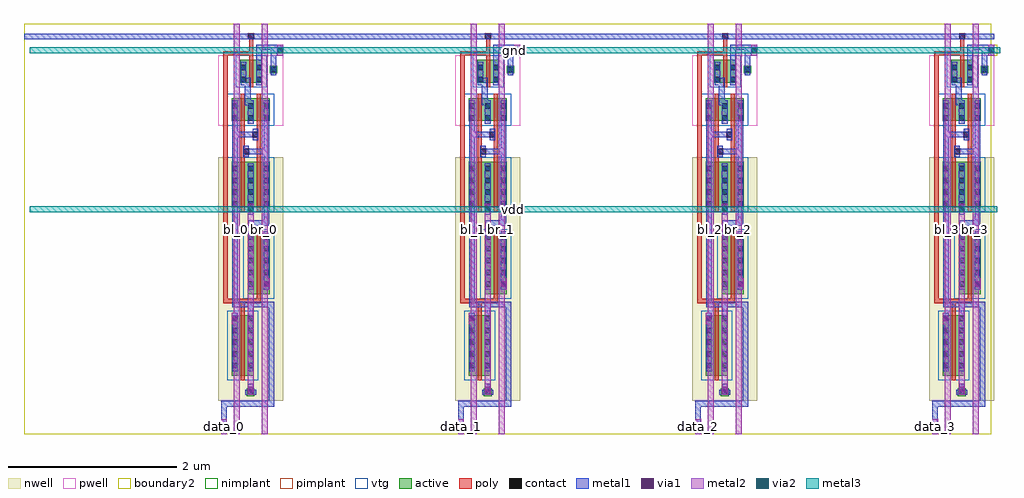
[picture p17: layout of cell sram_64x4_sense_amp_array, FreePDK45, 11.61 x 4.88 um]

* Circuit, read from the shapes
.subckt sram_64x4_sense_amp_array bl_0 bl_1 bl_2 bl_3 br_0 br_1 br_2 br_3 data_0 data_1 data_2 data_3 en gnd vdd
M1 n1 n2 data_0 gnd nfet w=0.27u l=0.05u
M2 gnd en n1 gnd nfet w=0.27u l=0.05u
M3 n2 data_0 n1 gnd nfet w=0.27u l=0.05u
M4 n3 n4 data_1 gnd nfet w=0.27u l=0.05u
M5 gnd en n3 gnd nfet w=0.27u l=0.05u
M6 n4 data_1 n3 gnd nfet w=0.27u l=0.05u
M7 n5 n6 data_2 gnd nfet w=0.27u l=0.05u
M8 gnd en n5 gnd nfet w=0.27u l=0.05u
M9 n6 data_2 n5 gnd nfet w=0.27u l=0.05u
M10 n7 n8 data_3 gnd nfet w=0.27u l=0.05u
M11 gnd en n7 gnd nfet w=0.27u l=0.05u
M12 n8 data_3 n7 gnd nfet w=0.27u l=0.05u
M13 data_0 en bl_0 vdd pfet w=0.72u l=0.05u
M14 vdd n2 data_0 vdd pfet w=0.54u l=0.05u
M15 br_0 en n2 vdd pfet w=0.72u l=0.05u
M16 n2 data_0 vdd vdd pfet w=0.54u l=0.05u
M17 data_1 en bl_1 vdd pfet w=0.72u l=0.05u
M18 vdd n4 data_1 vdd pfet w=0.54u l=0.05u
M19 br_1 en n4 vdd pfet w=0.72u l=0.05u
M20 n4 data_1 vdd vdd pfet w=0.54u l=0.05u
M21 data_2 en bl_2 vdd pfet w=0.72u l=0.05u
M22 vdd n6 data_2 vdd pfet w=0.54u l=0.05u
M23 br_2 en n6 vdd pfet w=0.72u l=0.05u
M24 n6 data_2 vdd vdd pfet w=0.54u l=0.05u
M25 data_3 en bl_3 vdd pfet w=0.72u l=0.05u
M26 vdd n8 data_3 vdd pfet w=0.54u l=0.05u
M27 br_3 en n8 vdd pfet w=0.72u l=0.05u
M28 n8 data_3 vdd vdd pfet w=0.54u l=0.05u
.ends

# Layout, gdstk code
import gdstk
lib = gdstk.Library(unit=1e-6, precision=5e-10)
def R(c, l, rs):  # rectangles x0, y0, x1, y1
    for r in rs: c.add(gdstk.rectangle(r[:2], r[2:], *l))
def A(c, l, x, y, w, h, nx, ny, dx, dy):  # array of equal rectangles
    R(c, l, [(x+i*dx, y+j*dy, x+i*dx+w, y+j*dy+h) for i in range(nx) for j in range(ny)])
active = (1, 0)
pwell = (2, 0)
nwell = (3, 0)
nimplant = (4, 0)
pimplant = (5, 0)
vtg = (6, 0)
poly = (9, 0)
contact = (10, 0)
metal1 = (11, 0)
via1 = (12, 0)
metal2 = (13, 0)
via2 = (14, 0)
metal3 = (15, 0)
boundary2 = (239, 0)

sense_amp = lib.new_cell('sense_amp')
R(sense_amp, active, [(0.3075,0.455,0.3975,0.545), (0.1275,0.695,0.3875,1.415), (0.1275,0.695,0.2025,1.415), (0.1275,0.695,0.2025,1.415), (0.3125,0.695,0.3875,1.415), (0.3125,0.695,0.3875,1.415), (0.1275,0.78,0.2025,1.415), (0.3125,0.78,0.3875,1.415), (0.3175,1.665,0.5775,2.385), (0.3175,1.665,0.3925,2.385), (0.3175,1.665,0.3925,2.385), (0.5025,1.665,0.5775,2.385), (0.5025,1.665,0.5775,2.385), (0.3175,1.75,0.3925,2.385), (0.5025,1.75,0.5775,2.385), (0.1275,2.7025,0.2025,3.1975), (0.1275,2.7025,0.3875,3.2425), (0.1275,2.7025,0.2025,3.2425), (0.1275,2.7025,0.2025,3.2425), (0.3125,2.7025,0.3875,3.1975), (0.3125,2.7025,0.3875,3.2425), (0.3125,2.7025,0.3875,3.2425), (0.3175,2.7025,0.3925,3.1975), (0.3175,2.7025,0.5775,3.2425), (0.3175,2.7025,0.3925,3.2425), (0.3175,2.7025,0.3925,3.2425), (0.5025,2.7025,0.5775,3.1975), (0.5025,2.7025,0.5775,3.2425), (0.5025,2.7025,0.5775,3.2425), (0.1275,3.7275,0.2025,3.9425), (0.1275,3.7275,0.3875,3.9975), (0.1275,3.7275,0.2025,3.9975), (0.1275,3.7275,0.2025,3.9975), (0.3125,3.7275,0.3875,3.9425), (0.3125,3.7275,0.3875,3.9975), (0.3125,3.7275,0.3875,3.9975), (0.3175,3.7275,0.3925,3.9425), (0.3175,3.7275,0.5775,3.9975), (0.3175,3.7275,0.3925,3.9975), (0.3175,3.7275,0.3925,3.9975), (0.5025,3.7275,0.5775,3.9425), (0.5025,3.7275,0.5775,3.9975), (0.5025,3.7275,0.5775,3.9975), (0.2275,4.185,0.3025,4.4), (0.2275,4.185,0.4875,4.455), (0.2275,4.185,0.3025,4.455), (0.2275,4.185,0.3025,4.455), (0.4125,4.185,0.4875,4.4), (0.4125,4.185,0.4875,4.455), (0.4125,4.185,0.4875,4.455), (0.58,4.295,0.67,4.385)])
R(sense_amp, pwell, [(-0.035,3.6725,0.74,4.51), (0.0725,3.6725,0.4425,4.0525), (0.2625,3.6725,0.6325,4.0525), (0.1725,4.13,0.5425,4.51), (0.525,4.24,0.725,4.44)])
R(sense_amp, nwell, [(-0.035,0.4,0.74,3.2975), (0.2525,0.4,0.4525,0.6), (0.0725,0.64,0.4425,1.47), (0.2625,1.61,0.6325,2.44), (0.0725,2.6475,0.4425,3.2975), (0.2625,2.6475,0.6325,3.2975)])
R(sense_amp, nimplant, [(0.3075,0.455,0.3975,0.545), (0.1275,3.7275,0.3875,3.9975), (0.3175,3.7275,0.5775,3.9975), (0.2275,4.185,0.4875,4.455)])
R(sense_amp, pimplant, [(0.1275,0.695,0.3875,1.415), (0.3175,1.665,0.5775,2.385), (0.1275,2.7025,0.3875,3.2425), (0.3175,2.7025,0.5775,3.2425), (0.58,4.295,0.67,4.385)])
R(sense_amp, vtg, [(0.0725,0.64,0.4425,1.47), (0.2625,1.61,0.6325,2.44), (0.0725,2.6475,0.4425,3.2975), (0.2625,2.6475,0.6325,3.2975), (0.0725,3.6725,0.4425,4.0525), (0.2625,3.6725,0.6325,4.0525), (0.1725,4.13,0.5425,4.51)])
R(sense_amp, poly, [(0.2325,0.64,0.2825,0.695), (0.2325,0.64,0.2825,1.47), (0.2325,1.415,0.2825,1.47), (0.2325,1.47,0.2825,1.56), (0.0275,1.56,0.4725,1.61), (0.0275,1.61,0.0775,4.51), (0.4225,1.61,0.4725,1.665), (0.4225,1.61,0.4725,2.44), (0.4225,2.385,0.4725,2.44), (0.2325,2.6475,0.2825,2.7025), (0.2325,2.6475,0.2825,3.2975), (0.4225,2.6475,0.4725,2.7025), (0.4225,2.6475,0.4725,3.2975), (0.2325,2.915,0.2825,3.6725), (0.4225,2.915,0.4725,3.6725), (0.2325,3.2425,0.2825,3.2975), (0.4225,3.2425,0.4725,3.2975), (0.2575,3.3275,0.3325,3.4025), (0.3725,3.5275,0.4475,3.6025), (0.2325,3.6725,0.2825,3.7275), (0.2325,3.6725,0.2825,4.0525), (0.4225,3.6725,0.4725,3.7275), (0.4225,3.6725,0.4725,4.0525), (0.2325,3.9975,0.2825,4.0525), (0.4225,3.9975,0.4725,4.0525), (0.3325,4.13,0.3825,4.185), (0.3325,4.13,0.3825,4.51), (0.3325,4.455,0.3825,4.51), (0.0275,4.51,0.3825,4.56), (0.3325,4.56,0.3825,4.765), (0.32,4.6975,0.395,4.7725)])
A(sense_amp, contact, 0.1325, 0.785, 0.065, 0.065, 1, 5, 0, 0.14)
A(sense_amp, contact, 0.3175, 0.785, 0.065, 0.065, 1, 5, 0, 0.14)
A(sense_amp, contact, 0.3225, 1.755, 0.065, 0.065, 1, 5, 0, 0.14)
A(sense_amp, contact, 0.5075, 1.755, 0.065, 0.065, 1, 5, 0, 0.14)
A(sense_amp, contact, 0.1325, 2.7075, 0.065, 0.065, 1, 4, 0, 0.14)
A(sense_amp, contact, 0.3225, 2.7075, 0.065, 0.065, 1, 4, 0, 0.14)
A(sense_amp, contact, 0.5075, 2.7075, 0.065, 0.065, 1, 4, 0, 0.14)
R(sense_amp, contact, [(0.32,0.4675,0.385,0.5325), (0.2625,3.3325,0.3275,3.3975), (0.3775,3.5325,0.4425,3.5975), (0.1325,3.7325,0.1975,3.7975), (0.3225,3.7325,0.3875,3.7975), (0.5075,3.7325,0.5725,3.7975), (0.1325,3.8725,0.1975,3.9375), (0.3225,3.8725,0.3875,3.9375), (0.5075,3.8725,0.5725,3.9375), (0.2325,4.19,0.2975,4.255), (0.4175,4.19,0.4825,4.255), (0.5925,4.3075,0.6575,4.3725), (0.2325,4.33,0.2975,4.395), (0.4175,4.33,0.4825,4.395), (0.325,4.7025,0.39,4.7675)])
R(sense_amp, metal1, [(0.0025,0.0425,0.0675,0.3975), (0.0025,0.3275,0.63,0.3975), (0.565,0.3275,0.63,1.575), (0.285,0.4675,0.42,0.5325), (0.32,0.4675,0.385,0.6025), (0.1325,0.75,0.1975,1.445), (0.3175,0.75,0.3825,1.445), (0.1275,1.31,0.1925,1.445), (0.32,1.3775,0.385,1.575), (0.1325,1.51,0.63,1.575), (0.1325,1.575,0.1975,2.6725), (0.3225,1.72,0.3875,2.415), (0.5075,1.72,0.5725,2.415), (0.51,1.72,0.575,1.855), (0.3225,2.35,0.3875,2.545), (0.3225,2.48,0.5725,2.545), (0.5075,2.48,0.5725,2.675), (0.32,2.61,0.385,2.745), (0.1325,2.6725,0.1975,3.2275), (0.3175,2.6725,0.3825,3.2275), (0.3225,2.6725,0.3875,3.2275), (0.5075,2.6725,0.5725,3.2275), (0.1325,2.835,0.1975,3.7025), (0.5075,2.835,0.5725,3.6975), (0.2625,3.2975,0.3275,3.4325), (0.2825,3.3325,0.5725,3.3975), (0.3775,3.4975,0.4425,3.6325), (0.1325,3.5325,0.4225,3.5975), (0.1325,3.6975,0.1975,3.9725), (0.3175,3.6975,0.3825,3.9725), (0.3225,3.6975,0.3875,3.9725), (0.5075,3.6975,0.5725,3.9725), (0.2825,3.915,0.3525,4.2425), (0.2325,4.155,0.2975,4.43), (0.4175,4.155,0.4825,4.43), (0.5925,4.2725,0.6575,4.4075), (0.5925,4.4075,0.6575,4.6375), (0.4175,4.42,0.4825,4.5725), (0.6575,4.5025,0.6725,4.5725), (0.6725,4.5025,0.7375,4.6375), (0.4175,4.5725,0.74,4.6375), (-0.035,4.7025,0.74,4.7675), (-0.035,4.7025,0.74,4.7675), (0.23,4.7025,0.295,4.7675), (0.29,4.7025,0.425,4.7675)])
R(sense_amp, via1, [(0.0025,0.0775,0.0675,0.1425), (0.32,0.5025,0.385,0.5675), (0.1275,1.345,0.1925,1.41), (0.51,1.755,0.575,1.82), (0.32,2.645,0.385,2.71), (0.6725,4.5375,0.7375,4.6025)])
R(sense_amp, metal2, [(0,0,0.07,0.1775), (0,0,0.07,0.1775), (0.15,0,0.22,4.885), (0.15,0,0.22,4.885), (0.485,0,0.555,4.885), (0.485,0,0.555,4.885), (0.3175,0.4675,0.3875,0.6025), (0.3175,0.6,0.3875,2.61), (0.125,1.31,0.195,1.445), (0.5075,1.72,0.5775,1.855), (0.3175,2.61,0.3875,2.745), (0.3175,2.61,0.3875,2.745), (0.67,4.5025,0.74,4.6375), (0.67,4.5025,0.74,4.6375)])
R(sense_amp, boundary2, [(0,0,0.705,4.885)])
sense_amp.add(gdstk.Label('en', (0.258,4.735), layer=11, texttype=0))
sense_amp.add(gdstk.Label('vdd', (0.3525,2.675), layer=13, texttype=0))
sense_amp.add(gdstk.Label('dout', (0.0345,0.023), layer=13, texttype=0))
sense_amp.add(gdstk.Label('gnd', (0.7025,4.61), layer=13, texttype=0))
sense_amp.add(gdstk.Label('br', (0.52,0.023), layer=13, texttype=0))
sense_amp.add(gdstk.Label('bl', (0.19,0.03), layer=13, texttype=0))
sense_amp.add(gdstk.Label('bl', (0.185,2.4425), layer=13, texttype=0))
sense_amp.add(gdstk.Label('br', (0.52,2.4425), layer=13, texttype=0))
sense_amp.add(gdstk.Label('dout', (0.035,0.089), layer=13, texttype=0))
sense_amp.add(gdstk.Label('en', (0.3525,4.735), layer=11, texttype=0))
sense_amp.add(gdstk.Label('vdd', (0.3525,2.6775), layer=13, texttype=0))
sense_amp.add(gdstk.Label('gnd', (0.705,4.57), layer=13, texttype=0))

sram_64x4_contact_18 = lib.new_cell('sram_64x4_contact_18')
R(sram_64x4_contact_18, metal2, [(0.0325,0,0.1025,0.135)])
R(sram_64x4_contact_18, via2, [(0.035,0.035,0.1,0.1)])
R(sram_64x4_contact_18, metal3, [(0,0.0325,0.135,0.1025)])
R(sram_64x4_contact_18, boundary2, [(0,0,0.135,0.135)])

sram_64x4_sense_amp_arra = lib.new_cell('sram_64x4_sense_amp_array')
A(sram_64x4_sense_amp_arra, metal1, 2.665, 4.7025, 0.065, 0.065, 4, 1, 2.82, 0)
R(sram_64x4_sense_amp_arra, metal1, [(0,4.7025,11.51,4.7675)])
A(sram_64x4_sense_amp_arra, metal2, 2.345, 0, 0.07, 0.1775, 4, 1, 2.82, 0)
R(sram_64x4_sense_amp_arra, metal2, [(2.495,0,2.565,4.885), (2.83,0,2.9,4.885), (5.315,0,5.385,4.885), (5.65,0,5.72,4.885), (8.135,0,8.205,4.885), (8.47,0,8.54,4.885), (10.955,0,11.025,4.885), (11.29,0,11.36,4.885)])
R(sram_64x4_sense_amp_arra, metal3, [(0.0675,2.6425,11.5775,2.7125), (0.0675,4.535,11.6125,4.605)])
R(sram_64x4_sense_amp_arra, boundary2, [(0,0,11.51,4.885)])
sram_64x4_sense_amp_arra.add(gdstk.Reference(sense_amp, (2.345,0)))
sram_64x4_sense_amp_arra.add(gdstk.Reference(sense_amp, (5.165,0)))
sram_64x4_sense_amp_arra.add(gdstk.Reference(sense_amp, (7.985,0)))
sram_64x4_sense_amp_arra.add(gdstk.Reference(sense_amp, (10.805,0)))
sram_64x4_sense_amp_arra.add(gdstk.Reference(sram_64x4_contact_18, (2.63,2.61)))
sram_64x4_sense_amp_arra.add(gdstk.Reference(sram_64x4_contact_18, (5.45,2.61)))
sram_64x4_sense_amp_arra.add(gdstk.Reference(sram_64x4_contact_18, (8.27,2.61)))
sram_64x4_sense_amp_arra.add(gdstk.Reference(sram_64x4_contact_18, (11.09,2.61)))
sram_64x4_sense_amp_arra.add(gdstk.Reference(sram_64x4_contact_18, (2.9825,4.5025)))
sram_64x4_sense_amp_arra.add(gdstk.Reference(sram_64x4_contact_18, (5.8025,4.5025)))
sram_64x4_sense_amp_arra.add(gdstk.Reference(sram_64x4_contact_18, (8.6225,4.5025)))
sram_64x4_sense_amp_arra.add(gdstk.Reference(sram_64x4_contact_18, (11.4425,4.5025)))
sram_64x4_sense_amp_arra.add(gdstk.Label('bl_0', (2.53,2.4425), layer=13, texttype=0))
sram_64x4_sense_amp_arra.add(gdstk.Label('br_0', (2.865,2.4425), layer=13, texttype=0))
sram_64x4_sense_amp_arra.add(gdstk.Label('data_0', (2.38,0.089), layer=13, texttype=0))
sram_64x4_sense_amp_arra.add(gdstk.Label('bl_1', (5.35,2.4425), layer=13, texttype=0))
sram_64x4_sense_amp_arra.add(gdstk.Label('br_1', (5.685,2.4425), layer=13, texttype=0))
sram_64x4_sense_amp_arra.add(gdstk.Label('data_1', (5.2,0.089), layer=13, texttype=0))
sram_64x4_sense_amp_arra.add(gdstk.Label('bl_2', (8.17,2.4425), layer=13, texttype=0))
sram_64x4_sense_amp_arra.add(gdstk.Label('br_2', (8.505,2.4425), layer=13, texttype=0))
sram_64x4_sense_amp_arra.add(gdstk.Label('data_2', (8.02,0.089), layer=13, texttype=0))
sram_64x4_sense_amp_arra.add(gdstk.Label('bl_3', (10.99,2.4425), layer=13, texttype=0))
sram_64x4_sense_amp_arra.add(gdstk.Label('br_3', (11.325,2.4425), layer=13, texttype=0))
sram_64x4_sense_amp_arra.add(gdstk.Label('data_3', (10.84,0.089), layer=13, texttype=0))
sram_64x4_sense_amp_arra.add(gdstk.Label('vdd', (5.8225,2.6775), layer=15, texttype=0))
sram_64x4_sense_amp_arra.add(gdstk.Label('gnd', (5.84,4.57), layer=15, texttype=0))
sram_64x4_sense_amp_arra.add(gdstk.Label('en', (5.755,4.735), layer=11, texttype=0))

lib.write_gds('sram_64x4_sense_amp_array.gds')
